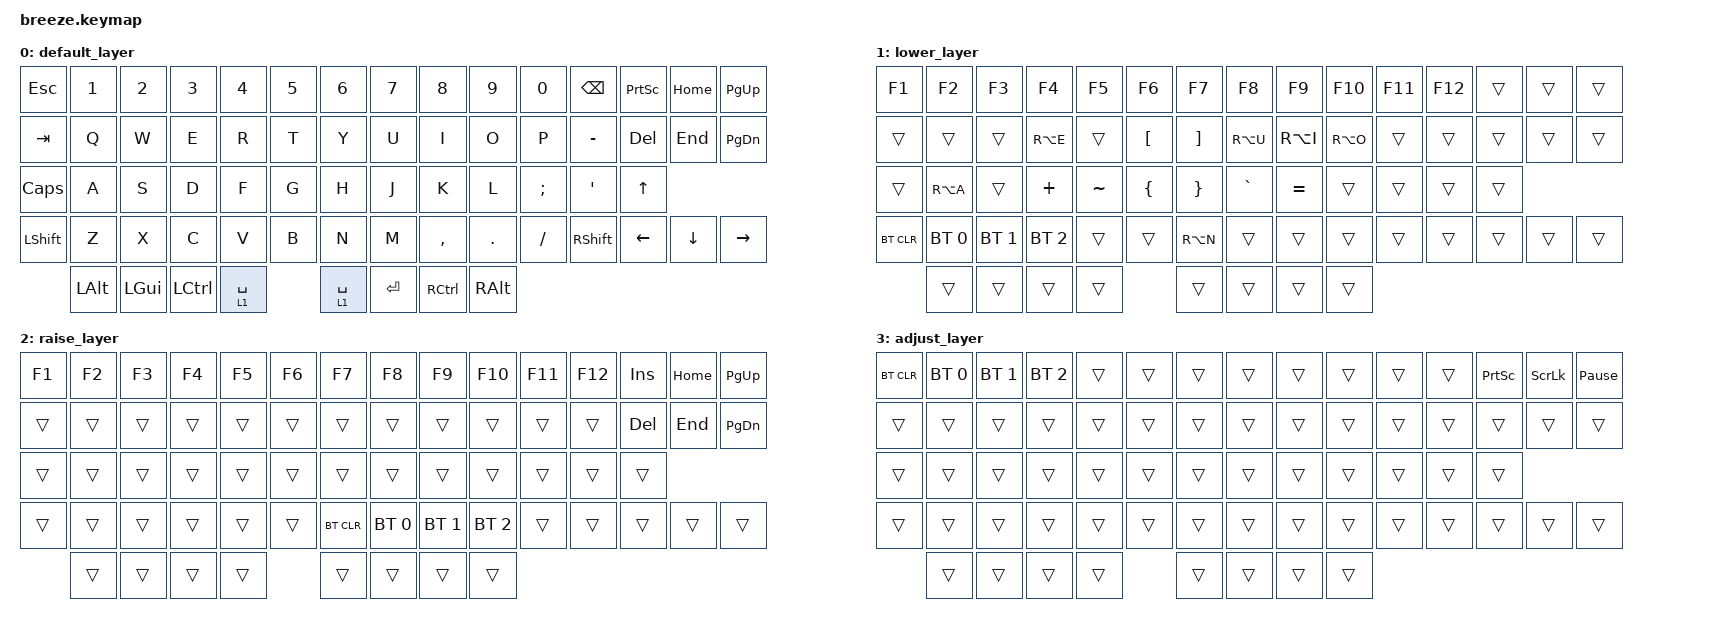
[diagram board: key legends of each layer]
/*
 * Copyright (c) 2022 The ZMK Contributors
 *
 * SPDX-License-Identifier: MIT
 */

#include <behaviors.dtsi>
#include <dt-bindings/zmk/keys.h>
#include <dt-bindings/zmk/bt.h>
#include <dt-bindings/zmk/ext_power.h>

/ {
	keymap {
		compatible = "zmk,keymap";

		default_layer {

// Ref: https://zmkfirmware.dev/docs/codes/

// ----------------------------------------------------------------------------------------------------------------------------------
// |  ESC  |  1  |  2  |  3    |  4   |  5   |                               |  6   |  7    |  8    |  9   |   0   |  BSPC  | | PSCRN | HOME | PG UP|
// |  TAB  |  Q  |  W  |  E    |  R   |  T   |                               |  Y   |  U    |  I    |  O   |   P   |   -/_  | |  DEL  | END  | PG DN|
// |  CTRL |  A  |  S  |  D    |  F   |  G   |                               |  H   |  J    |  K    |  L   |   ;   |  '   | |       |  UP  |      |
// |  SHFT |  Z  |  X  |  C    |  V   |  B   |                               |  N   |  M    |  ,    |  .   |   /   |  RSHFT | |  L  |  DN  |  R   |
//                     | LALT | LGUI  | LCTRL  | LOWER/SPACE |   | LOWER/SPACE | RET | RCTRL   | RALT |
			bindings = <
&kp ESC &kp N1 &kp N2 &kp N3 &kp N4 &kp N5        &kp N6 &kp N7 &kp N8 &kp N9 &kp N0 &kp BSPC        &kp PRINTSCREEN &kp HOME &kp PG_UP
&kp TAB &kp Q &kp W &kp E &kp R &kp T        &kp Y &kp U &kp I &kp O &kp P &kp MINUS        &kp DEL &kp END &kp PG_DN
&kp CAPS &kp A &kp S &kp D &kp F &kp G        &kp H &kp J &kp K &kp L &kp SEMI &kp APOS        &kp UP 
&kp LSHFT &kp Z &kp X &kp C &kp V &kp B        &kp N &kp M &kp COMMA &kp DOT &kp FSLH &kp RSHFT        &kp LEFT  &kp DOWN  &kp RIGHT
        &kp LALT &kp LGUI &kp LCTRL &lt 1 SPACE        &lt 1 SPACE &kp RET &kp RCTRL &kp RALT
			>;
		};

		lower_layer {
// ---------------------------------------------------------------------------------------------------------------------------------- 
// |   F1  |  F2  |  F3 |  F4  |  F5   |  F6  |                   |  F7  |  F8  |  F9  |  F10 |  F11  |  F12  | |       | PSCRN|      | 
// |CMD-TAB|      |     |  É   |       |  [   |                   |  ]   |   Ú  |  Í   |   Ó  |       |       | |       | Mute | Play | 
// |       | Á    |     |  +   |   `   |  {   |                   |  }   |  ~   |  =   |      |       |       | |       | Vol+ |      | 
// |  CAPS | CMD-Z| CUT | COPY | PASTE |      |                   |  Ñ   |      |      |      |       |       | | Prev  | Vol- | Next | 
//                      |      |       |      |        |  |       |      |      |      |
			bindings = <
&kp F1 &kp F2 &kp F3 &kp F4 &kp F5 &kp F6        &kp F7 &kp F8 &kp F9 &kp F10 &kp F11 &kp F12        &trans &trans &trans
&trans &trans &trans &kp RA(E) &trans &kp LEFT_BRACKET        &kp RIGHT_BRACKET &kp RA(U) &kp RA(I) &kp RA(O) &trans &trans        &trans &trans &trans
&trans &kp RA(A) &trans &kp PLUS &kp TILDE &kp LEFT_BRACE        &kp RIGHT_BRACE &kp GRAVE &kp EQUAL &trans &trans &trans        &trans
&bt BT_CLR &bt BT_SEL 0 &bt BT_SEL 1 &bt BT_SEL 2 &trans &trans        &kp RA(N) &trans &trans &trans &trans &trans        &trans &trans &trans
        &trans &trans &trans &trans        &trans &trans &trans &trans        
			>;
		};

		raise_layer {
// ---------------------------------------------------------------------------------------------------------------------------------- 
// | ESC |      |      |      |      |        |                   |      |      |      |      |       |       | |     |      |      | 
// |     |      |      |      |      |        |                   |      |      |      |      |       |       | |     |      |      | 
// |     |CTRL-A|      |      |      |        |                   | HOME | PGDN | PGUP | END  |       |       | |     |      |      | 
// |     |CTRL-Z|CTRL-X|CTRL-C|CTRL-V|        |                   |      |      |      |      |       |       | |     |      |      | 
//                     |      |      |        |  BKSP  |  |       |      |      |      |
			bindings = <
&kp F1 &kp F2 &kp F3 &kp F4 &kp F5 &kp F6        &kp F7 &kp F8 &kp F9 &kp F10 &kp F11 &kp F12        &kp INS &kp HOME &kp PG_UP
&trans &trans &trans &trans &trans &trans        &trans &trans &trans &trans &trans &trans        &kp DEL &kp END &kp PG_DN
&trans &trans &trans &trans &trans &trans        &trans &trans &trans &trans &trans &trans        &trans
&trans &trans &trans &trans &trans &trans        &bt BT_CLR &bt BT_SEL 0 &bt BT_SEL 1 &bt BT_SEL 2 &trans &trans        &trans &trans &trans
        &trans &trans &trans &trans        &trans &trans &trans &trans
			>;
		};
		
		adjust_layer {
// ---------------------------------------------------------------------------------------------------------------------------------- 
// | BT1 | BT2 | BT3 | BT4  |      | BT_CLR |                   |      |       |       |      |       |       | |     |      |      | 
// |     |     |     |      |      |        |                   |      |       |       |      |       |       | |     |      |      | 
// |     |     |     |      |      |        |                   |      |       |       |      |       |       | |     |      |      | 
// |     |     |     |      |      |        |                   |      |       |       |      |       |       | |     |      |      | 
//                   |      |      |        |        |  |       |      |       |       |
			bindings = <
&bt BT_CLR &bt BT_SEL 0 &bt BT_SEL 1 &bt BT_SEL 2 &trans &trans        &trans &trans &trans &trans &trans &trans        &kp PSCRN &kp SLCK &kp PAUSE_BREAK
&trans &trans &trans &trans &trans &trans        &trans &trans &trans &trans &trans &trans        &trans &trans &trans
&trans &trans &trans &trans &trans &trans        &trans &trans &trans &trans &trans &trans        &trans
&trans &trans &trans &trans &trans &trans        &trans &trans &trans &trans &trans &trans        &trans &trans &trans
        &trans &trans &trans &trans        &trans &trans &trans &trans
			>;
		};
	};
};
